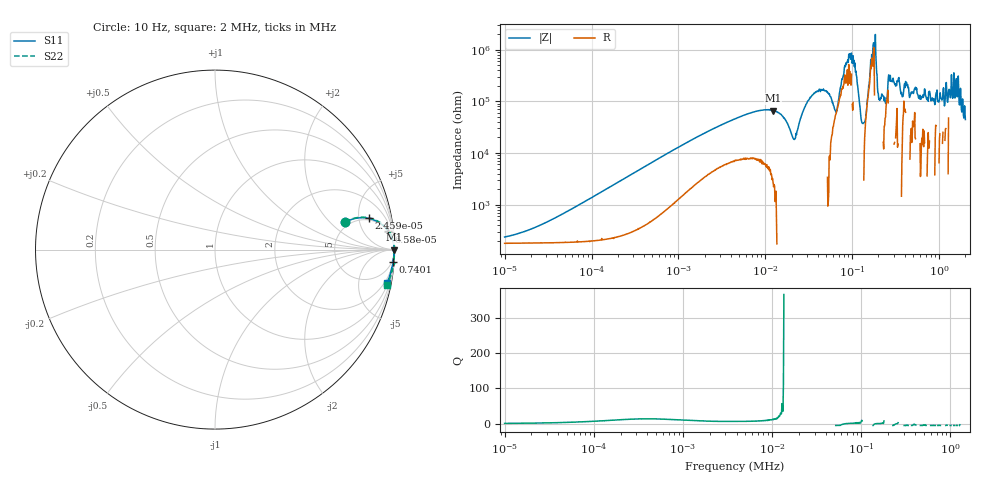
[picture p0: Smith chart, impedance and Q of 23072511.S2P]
!Agilent Technologies,E5061B,MY49204007,A.02.12
!Date: Wed Jul 23 11:14:51 2025
!Data & Calibration Information:
!Freq	S11:SOLT2(ON)	S21:SOLT2(ON)	S12:SOLT2(ON)	S22:SOLT2(ON)
# Hz S dB R 50
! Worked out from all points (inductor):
!   1040 points, 10 Hz to 2 MHz, reference 50 ohm
!   read as one part in series: L = 2.17 H near 40.46 Hz
!   highest Q = 24.7 at 12.27 kHz (marker M1), where L = 861 mH
!   self-resonance near 21.78 kHz
!   S11 on the Smith chart (normalised r, x): 10 Hz: 4.57, +3.07; 24.59 Hz: 4.65, +6.82; 65.8 Hz: 5, +18; 740.1 kHz: 2, -28; 2 MHz: 1, -10
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10  -2.61 11.8  -10.04 -29.1  -10.03 -29.0  -2.59 12.0
24.587  -1.17 11.5  -12.91 -50.5  -12.91 -50.5  -1.16 11.7
65.802  -0.25 6.0  -19.43 -72.0  -19.44 -71.9  -0.23 6.2
77.209  -0.19 5.2  -20.70 -74.4  -20.70 -74.3  -0.17 5.4
588.818  -0.01 0.7  -37.85 -84.8  -37.85 -84.7  0.00 0.9
4498.482  -0.01 0.1  -53.28 -80.8  -53.29 -81.1  0.01 0.2
12273.72  -0.01 -0.0  -56.45 -87.7  -56.56 -87.7  0.01 0.0
21558.9  -0.02 -0.1  -45.32 -171.7  -45.34 -171.7  -0.10 0.0
34305.13  -0.01 -0.2  -62.20 103.3  -62.11 103.8  0.01 0.1
49406.73  -0.01 -0.3  -64.16 93.8  -64.26 93.5  0.01 -0.1
64609.4  -0.06 -0.4  -55.96 25.9  -55.88 26.8  0.01 -0.2
84298.31  -0.01 -0.4  -74.88 -65.6  -75.04 -56.0  0.01 -0.3
96607.24  -0.01 -0.5  -77.36 -74.2  -75.99 -92.3  0.01 -0.4
106678.2  -0.01 -0.6  -74.96 -106.0  -71.70 -106.0  0.01 -0.5
134101.3  -0.03 -0.7  -51.61 96.3  -51.63 97.0  -0.02 -0.6
173546.8  -0.00 -0.9  -82.12 -68.8  -78.79 -31.9  0.01 -0.8
205377.7  -0.03 -1.0  -60.93 130.1  -60.74 128.5  0.00 -1.0
238488.8  -0.02 -1.3  -60.06 60.6  -60.53 69.5  -0.02 -1.3
261946.5  -0.03 -1.4  -70.29 -116.2  -71.91 -109.3  -0.02 -1.1
740061.9  -0.05 -4.0  -61.48 78.2  -60.87 74.1  0.01 -4.5
1574823  -0.14 -8.4  -69.02 164.0  -67.76 168.8  -0.11 -9.1
2000000  -0.20 -11.0  -53.26 -128.5  -53.09 -128.0  -0.20 -11.7
